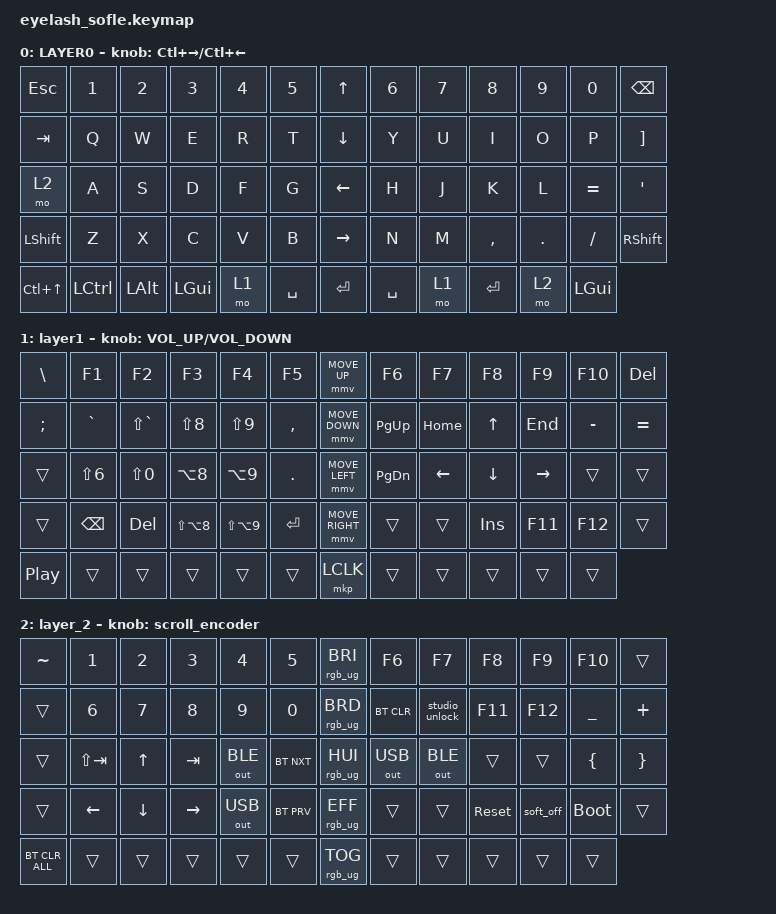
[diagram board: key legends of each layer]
#define ZMK_POINTING_DEFAULT_MOVE_VAL 1200  // 600
#define ZMK_POINTING_DEFAULT_SCRL_VAL 25   // 10

#include <input/processors.dtsi>
#include <zephyr/dt-bindings/input/input-event-codes.h>
#include <behaviors.dtsi>
#include <dt-bindings/zmk/bt.h>
#include <dt-bindings/zmk/keys.h>
#include <dt-bindings/zmk/outputs.h>
#include <dt-bindings/zmk/pointing.h>
#include <dt-bindings/zmk/rgb.h>

&mmv_input_listener { input-processors = <&zip_xy_scaler 2 1>; };

&msc_input_listener { input-processors = <&zip_scroll_scaler 2 1>; };

&msc {
    acceleration-exponent = <1>;      // 0
    time-to-max-speed-ms = <100>;       // 300
    delay-ms = <0>;                   // 0
};

&mmv {
    time-to-max-speed-ms = <2000>;
    acceleration-exponent = <1>;
    trigger-period-ms = <15>;
};

/ {
    scroll_encoder: scroll_encoder {
        compatible = "zmk,behavior-sensor-rotate";
        #sensor-binding-cells = <0>;
        bindings = <&msc SCRL_DOWN>, <&msc SCRL_UP>;

        tap-ms = <100>;
    };

    behaviors {
    };

    keymap {
        compatible = "zmk,keymap";

        layer0 {
            bindings = <
&kp ESC           &kp N1     &kp N2        &kp N3        &kp N4  &kp N5       &kp UP_ARROW     &kp N6     &kp N7  &kp N8     &kp N9   &kp N0        &kp BACKSPACE
&kp TAB           &kp Q      &kp W         &kp E         &kp R   &kp T        &kp DOWN_ARROW   &kp Y      &kp U   &kp I      &kp O    &kp P         &kp RIGHT_BRACKET
&mo 2             &kp A      &kp S         &kp D         &kp F   &kp G        &kp LEFT_ARROW   &kp H      &kp J   &kp K      &kp L    &kp EQUAL     &kp APOS
&kp LSHFT         &kp Z      &kp X         &kp C         &kp V   &kp B        &kp RIGHT_ARROW  &kp N      &kp M   &kp COMMA  &kp DOT  &kp FSLH      &kp RIGHT_SHIFT
&kp LC(UP_ARROW)  &kp LCTRL  &kp LEFT_ALT  &kp LEFT_GUI  &mo 1   &kp SPACE    &kp ENTER        &kp SPACE  &mo 1   &kp ENTER  &mo 2    &kp LEFT_GUI
            >;

            sensor-bindings = <&inc_dec_kp LC(RIGHT_ARROW) LC(LEFT)>;
            display-name = "LAYER0";
        };

        layer_1 {
            bindings = <
&kp BACKSLASH  &kp F1            &kp F2            &kp F3          &kp F4          &kp F5       &mmv MOVE_UP     &kp F6     &kp F7    &kp F8      &kp F9     &kp F10    &kp DELETE
&kp SEMICOLON  &kp GRAVE         &kp LS(GRAVE)     &kp LS(N8)      &kp LS(N9)      &kp COMMA    &mmv MOVE_DOWN   &kp PG_UP  &kp HOME  &kp UP      &kp END    &kp MINUS  &kp EQUAL
&trans         &kp LS(NUMBER_6)  &kp LS(NUMBER_0)  &kp LA(N8)      &kp LA(N9)      &kp DOT      &mmv MOVE_LEFT   &kp PG_DN  &kp LEFT  &kp DOWN    &kp RIGHT  &trans     &trans
&trans         &kp BACKSPACE     &kp DELETE        &kp LS(LA(N8))  &kp LS(LA(N9))  &kp RET      &mmv MOVE_RIGHT  &trans     &trans    &kp INSERT  &kp F11    &kp F12    &trans
&kp C_PP       &trans            &trans            &trans          &trans          &trans       &mkp LCLK        &trans     &trans    &trans      &trans     &trans
            >;

            display-name = "layer1";
            sensor-bindings = <&inc_dec_kp K_VOLUME_UP K_VOLUME_DOWN>;
        };

        layer_2 {
            bindings = <
&kp TILDE       &kp NUMBER_1    &kp NUMBER_2    &kp NUMBER_3     &kp NUMBER_4  &kp NUMBER_5    &rgb_ug RGB_BRI  &kp F6        &kp F7                &kp F8      &kp F9     &kp F10      &trans
&trans          &kp NUMBER_6    &kp NUMBER_7    &kp NUMBER_8     &kp NUMBER_9  &kp NUMBER_0    &rgb_ug RGB_BRD  &bt BT_CLR    &kp studio_unlock    &kp F11     &kp F12    &kp UNDER    &kp PLUS
&trans          &kp LS(TAB)     &kp UP_ARROW    &kp TAB          &out OUT_BLE  &bt BT_NXT      &rgb_ug RGB_HUI  &out OUT_USB  &out OUT_BLE          &trans      &trans     &kp LBRC     &kp RBRC
&trans          &kp LEFT_ARROW  &kp DOWN_ARROW  &kp RIGHT_ARROW  &out OUT_USB  &bt BT_PRV      &rgb_ug RGB_EFF  &trans        &trans                &sys_reset  &soft_off  &bootloader  &trans
&bt BT_CLR_ALL  &trans          &trans          &trans           &trans        &trans          &rgb_ug RGB_TOG  &trans        &trans                &trans      &trans     &trans
            >;

            sensor-bindings = <&scroll_encoder>;
        };
    };
};
